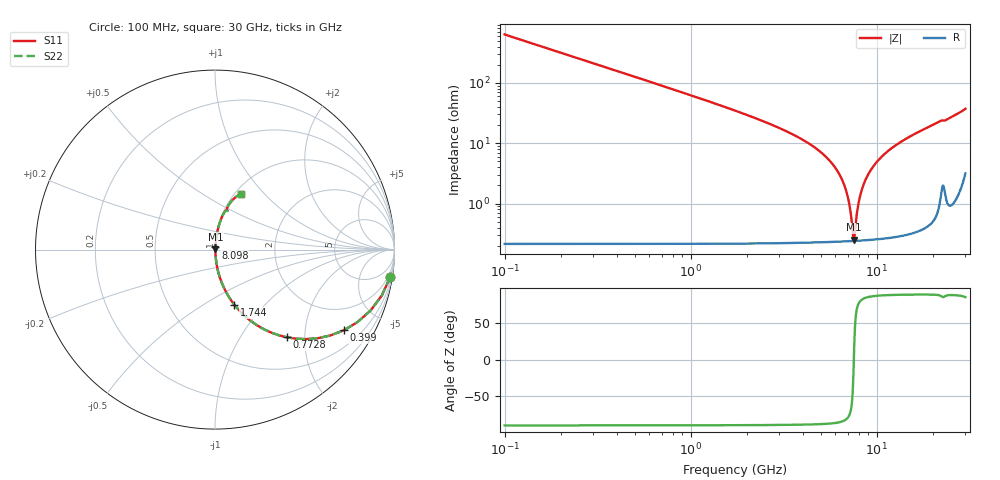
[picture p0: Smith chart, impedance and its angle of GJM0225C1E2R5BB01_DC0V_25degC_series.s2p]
!Murata Part Number: GJM0225C1E2R5BB01
!These Parameters are Measured in Series Mode Connection
!  o--ll--o
!Port1  Port2
!  o------o
!Operation Temp=25[degC], DC Bias Voltage=0[V]
!Freq. Start=100[MHz] Stop=30[GHz], 401[Steps]
!Data Generated on Feb 1, 2023
# Hz S RI R 50
!Freq.(Hz) S11(Real) S11(Imag) S21(Real) S21(Imag) S12(Real) S12(Imag) S22(Real) S22(Imag)
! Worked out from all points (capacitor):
!   401 points, 100 MHz to 30 GHz, reference 50 ohm
!   read as one part in series: C = 2.5 pF near 249.5 MHz
!   lowest |Z| = 252 mohm at 7.575 GHz (marker M1)
!   series resonance near 7.541 GHz, so ESL is about 180 pH
!   S11 on the Smith chart (normalised r, x): 100 MHz: 1, -13; 399 MHz: 1.00, -3.18; 772.8 MHz: 1.00, -1.63; 1.744 GHz: 1.00, -0.69; 8.098 GHz: 1.00, +0.02; 30 GHz: 1.06, +0.74
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1e8  0.9759 -0.1533  0.0241 0.1533  0.0241 0.1533  0.9759 -0.1533
3.99e8  0.7166 -0.45  0.2834 0.45  0.2834 0.45  0.7166 -0.45
7.7275e8  0.3995 -0.4885  0.6005 0.4885  0.6005 0.4885  0.3995 -0.4885
1.1465e9  0.2283 -0.4177  0.7717 0.4177  0.7717 0.4177  0.2283 -0.4177
1.7445e9  0.1081 -0.3074  0.8919 0.3074  0.8919 0.3074  0.1081 -0.3074
3.09e9  0.0306 -0.1659  0.9694 0.1659  0.9694 0.1659  0.0306 -0.1659
5.10825e9  0.00679 -0.0669  0.9932 0.0669  0.9932 0.0669  0.00679 -0.0669
6.00525e9  0.00381 -0.0386  0.9962 0.0386  0.9962 0.0386  0.00381 -0.0386
6.678e9  0.00277 -0.0205  0.9972 0.0205  0.9972 0.0205  0.00277 -0.0205
7.05175e9  0.00249 -0.0113  0.9975 0.0113  0.9975 0.0113  0.00249 -0.0113
7.4255e9  0.00239 -0.0026  0.9976 0.0026  0.9976 0.0026  0.00239 -0.0026
7.575e9  0.00239 0.000764  0.9976 -0.000764  0.9976 -0.000764  0.00239 0.000764
7.94875e9  0.00249 0.00889  0.9975 -0.00889  0.9975 -0.00889  0.00249 0.00889
8.09825e9  0.00257 0.012  0.9974 -0.012  0.9974 -0.012  0.00257 0.012
8.39725e9  0.00277 0.0182  0.9972 -0.0182  0.9972 -0.0182  0.00277 0.0182
8.84575e9  0.0032 0.027  0.9968 -0.027  0.9968 -0.027  0.0032 0.027
1.01165e10  0.00509 0.0503  0.9949 -0.0503  0.9949 -0.0503  0.00509 0.0503
1.213475e10  0.00972 0.0832  0.9903 -0.0832  0.9903 -0.0832  0.00972 0.0832
1.505e10  0.0192 0.1257  0.9808 -0.1257  0.9808 -0.1257  0.0192 0.1257
2.005825e10  0.0436 0.1921  0.9564 -0.1921  0.9564 -0.1921  0.0436 0.1921
2.50665e10  0.075 0.2467  0.925 -0.2467  0.925 -0.2467  0.075 0.2467
3e10  0.1422 0.3093  0.8578 -0.3093  0.8578 -0.3093  0.1422 0.3093
